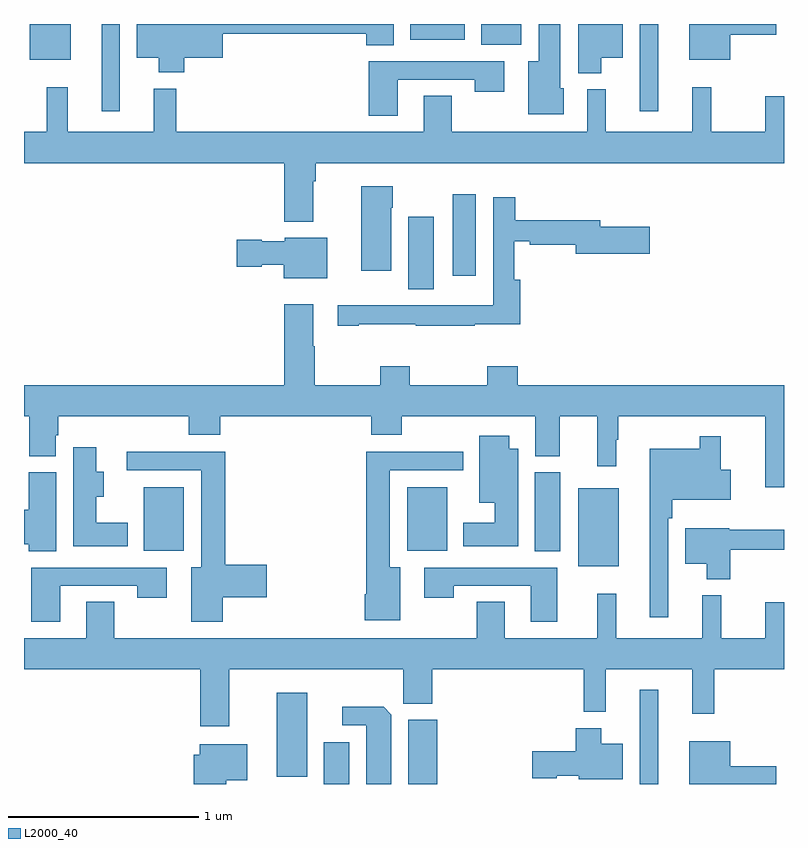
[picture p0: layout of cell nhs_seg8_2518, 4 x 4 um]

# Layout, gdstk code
import gdstk
lib = gdstk.Library(unit=1e-6, precision=1e-09)
def R(c, l, rs):  # rectangles x0, y0, x1, y1
    for r in rs: c.add(gdstk.rectangle(r[:2], r[2:], *l))
def P(c, l, *ps):  # polygons
    for p in ps: c.add(gdstk.Polygon(p, *l))
L2000_40 = (2000, 40)

nhs_seg8_2518 = lib.new_cell('nhs_seg8_2518')
R(nhs_seg8_2518, L2000_40, [(270.578,1111.9,270.712,1112.119), (271.022,1111.9,271.175,1112.238), (272.241,1111.9,272.338,1112.395), (270.329,1111.938,270.49,1112.38), (271.916,1113.047,272.131,1113.457), (271.688,1113.124,271.822,1113.54), (269.63,1113.128,269.842,1113.463), (271.016,1113.128,271.228,1113.463), (271.022,1114.504,271.156,1114.885), (271.256,1114.575,271.378,1115.005), (269.408,1115.442,269.505,1115.9), (272.241,1115.442,272.338,1115.9), (269.03,1115.711,269.245,1115.9), (271.406,1115.792,271.618,1115.9), (271.034,1115.816,271.321,1115.9)])
P(nhs_seg8_2518, L2000_40, [(272.038,1115.723),(272.152,1115.723),(272.152,1115.9),(271.916,1115.9),(271.916,1115.642),(272.038,1115.642)],
  [(271.84,1115.562),(271.822,1115.562),(271.822,1115.9),(271.709,1115.9),(271.709,1115.704),(271.655,1115.704),(271.655,1115.426),(271.84,1115.426)],
  [(269.843,1115.723),(270.046,1115.723),(270.046,1115.848),(270.8,1115.848),(270.8,1115.788),(270.946,1115.788),(270.946,1115.9),(269.594,1115.9),(269.594,1115.723),(269.708,1115.723),(269.708,1115.645),(269.843,1115.645)],
  [(272.716,1115.843),(272.959,1115.843),(272.959,1115.9),(272.501,1115.9),(272.501,1115.711),(272.716,1115.711)],
  [(270.967,1115.607),(271.372,1115.607),(271.372,1115.544),(271.528,1115.544),(271.528,1115.703),(270.815,1115.703),(270.815,1115.418),(270.967,1115.418)],
  [(270.523,1115.072),(270.536,1115.072),(270.536,1115.168),(273,1115.168),(273,1115.521),(272.9,1115.521),(272.9,1115.332),(272.618,1115.332),(272.618,1115.566),(272.516,1115.566),(272.516,1115.332),(272.063,1115.332),(272.063,1115.557),(271.965,1115.557),(271.965,1115.332),(271.251,1115.332),(271.251,1115.522),(271.103,1115.522),(271.103,1115.332),(269.801,1115.332),(269.801,1115.56),(269.684,1115.56),(269.684,1115.332),(269.231,1115.332),(269.231,1115.566),(269.121,1115.566),(269.121,1115.332),(269,1115.332),(269,1115.168),(270.371,1115.168),(270.371,1114.859),(270.523,1114.859)],
  [(270.934,1114.934),(270.942,1114.934),(270.942,1115.047),(270.776,1115.047),(270.776,1114.602),(270.934,1114.602)],
  [(270.763,1114.321),(271.063,1114.321),(271.063,1114.311),(271.373,1114.311),(271.373,1114.321),(271.613,1114.321),(271.613,1114.555),(271.579,1114.555),(271.579,1114.757),(271.663,1114.757),(271.663,1114.738),(271.904,1114.738),(271.904,1114.691),(272.293,1114.691),(272.293,1114.833),(272.032,1114.833),(272.032,1114.867),(271.586,1114.867),(271.586,1114.987),(271.47,1114.987),(271.47,1114.42),(271.26,1114.42),(271.26,1114.419),(270.926,1114.419),(270.926,1114.421),(270.651,1114.421),(270.651,1114.311),(270.763,1114.311)],
  [(270.595,1114.774),(270.372,1114.774),(270.372,1114.756),(270.252,1114.756),(270.252,1114.764),(270.12,1114.764),(270.12,1114.622),(270.252,1114.622),(270.252,1114.634),(270.368,1114.634),(270.368,1114.562),(270.595,1114.562)],
  [(271.598,1114.099),(271.438,1114.099),(271.438,1114),(271.029,1114),(271.029,1114.099),(270.874,1114.099),(270.874,1114),(270.531,1114),(270.531,1114.205),(270.523,1114.205),(270.523,1114.426),(270.371,1114.426),(270.371,1114),(269,1114),(269,1113.836),(269.027,1113.836),(269.027,1113.625),(269.167,1113.625),(269.167,1113.735),(269.18,1113.735),(269.18,1113.836),(269.867,1113.836),(269.867,1113.737),(270.032,1113.737),(270.032,1113.836),(270.827,1113.836),(270.827,1113.737),(270.987,1113.737),(270.987,1113.836),(271.691,1113.836),(271.691,1113.625),(271.819,1113.625),(271.819,1113.836),(272.018,1113.836),(272.018,1113.573),(272.116,1113.573),(272.116,1113.713),(272.128,1113.713),(272.128,1113.836),(272.9,1113.836),(272.9,1113.462),(273,1113.462),(273,1114),(271.598,1114)],
  [(271.6,1113.664),(271.555,1113.664),(271.555,1113.733),(271.397,1113.733),(271.397,1113.38),(271.478,1113.38),(271.478,1113.274),(271.313,1113.274),(271.313,1113.152),(271.6,1113.152)],
  [(272.391,1113.299),(272.411,1113.299),(272.411,1113.395),(272.719,1113.395),(272.719,1113.553),(272.667,1113.553),(272.667,1113.73),(272.556,1113.73),(272.556,1113.664),(272.294,1113.664),(272.294,1112.778),(272.391,1112.778)],
  [(269.545,1113.274),(269.38,1113.274),(269.38,1113.413),(269.419,1113.413),(269.419,1113.543),(269.38,1113.543),(269.38,1113.673),(269.258,1113.673),(269.258,1113.152),(269.545,1113.152)],
  [(270.046,1112.882),(270.277,1112.882),(270.277,1113.053),(270.059,1113.053),(270.059,1113.65),(269.541,1113.65),(269.541,1113.552),(269.933,1113.552),(269.933,1113.04),(269.879,1113.04),(269.879,1112.754),(270.046,1112.754)],
  [(270.979,1113.04),(270.925,1113.04),(270.925,1113.552),(271.312,1113.552),(271.312,1113.65),(270.8,1113.65),(270.8,1112.898),(270.794,1112.898),(270.794,1112.762),(270.979,1112.762)],
  [(269.17,1113.54),(269.024,1113.54),(269.024,1113.344),(269,1113.344),(269,1113.161),(269.024,1113.161),(269.024,1113.124),(269.17,1113.124)],
  [(272.716,1113.133),(273,1113.133),(273,1113.237),(272.712,1113.237),(272.712,1113.247),(272.48,1113.247),(272.48,1113.059),(272.594,1113.059),(272.594,1112.978),(272.716,1112.978)],
  [(269.191,1112.943),(269.596,1112.943),(269.596,1112.88),(269.752,1112.88),(269.752,1113.039),(269.039,1113.039),(269.039,1112.754),(269.191,1112.754)],
  [(271.807,1113.039),(271.107,1113.039),(271.107,1112.88),(271.263,1112.88),(271.263,1112.943),(271.667,1112.943),(271.667,1112.754),(271.807,1112.754)],
  [(269.475,1112.858),(269.327,1112.858),(269.327,1112.668),(269,1112.668),(269,1112.504),(269.927,1112.504),(269.927,1112.205),(270.079,1112.205),(270.079,1112.504),(270.997,1112.504),(270.997,1112.323),(271.148,1112.323),(271.148,1112.504),(271.945,1112.504),(271.945,1112.279),(272.063,1112.279),(272.063,1112.504),(272.516,1112.504),(272.516,1112.271),(272.633,1112.271),(272.633,1112.504),(273,1112.504),(273,1112.857),(272.9,1112.857),(272.9,1112.668),(272.67,1112.668),(272.67,1112.893),(272.57,1112.893),(272.57,1112.668),(272.117,1112.668),(272.117,1112.902),(272.018,1112.902),(272.018,1112.668),(271.531,1112.668),(271.531,1112.858),(271.384,1112.858),(271.384,1112.668),(269.475,1112.668)],
  [(270.934,1112.264),(270.893,1112.306),(270.675,1112.306),(270.675,1112.208),(270.8,1112.208),(270.8,1111.9),(270.934,1111.9)],
  [(272.152,1112.113),(272.038,1112.113),(272.038,1112.194),(271.904,1112.194),(271.904,1112.073),(271.674,1112.073),(271.674,1111.931),(271.803,1111.931),(271.803,1111.943),(271.92,1111.943),(271.92,1111.925),(272.152,1111.925)],
  [(272.959,1111.994),(272.716,1111.994),(272.716,1112.125),(272.501,1112.125),(272.501,1111.9),(272.959,1111.9)],
  [(270.064,1111.919),(270.175,1111.919),(270.175,1112.11),(269.924,1112.11),(269.924,1112.055),(269.894,1112.055),(269.894,1111.9),(270.064,1111.9)])

lib.write_gds('nhs_seg8_2518.gds')
